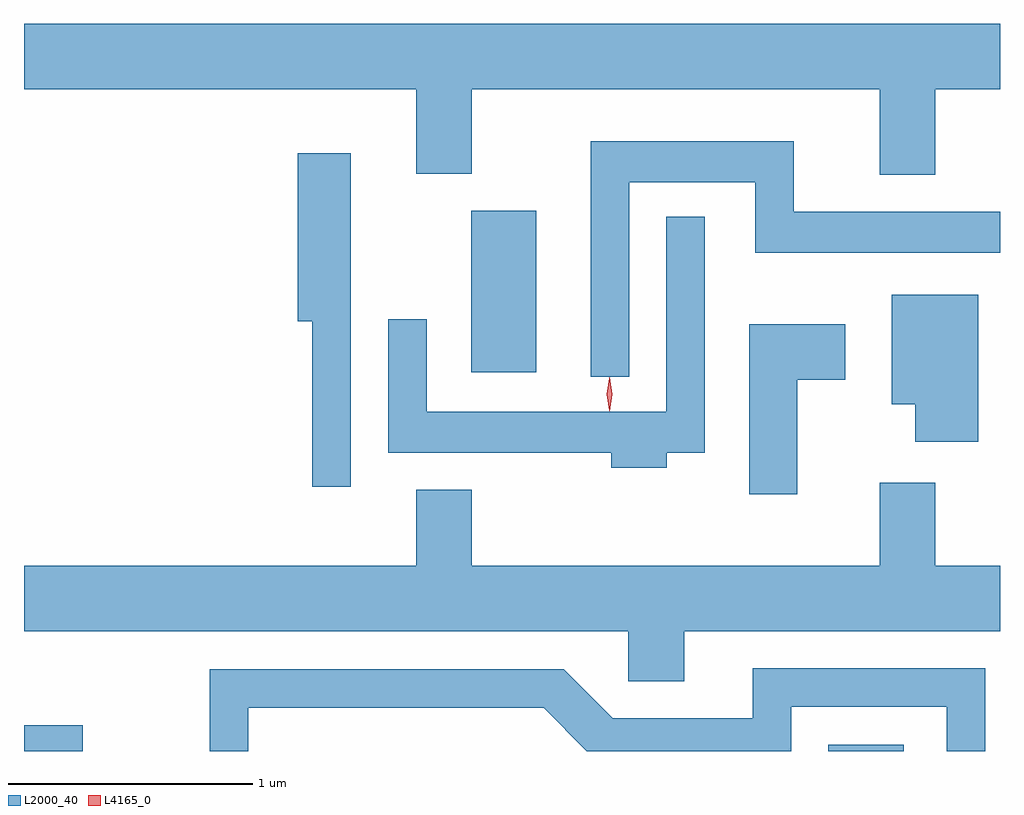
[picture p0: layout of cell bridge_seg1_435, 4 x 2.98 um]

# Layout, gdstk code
import gdstk
lib = gdstk.Library(unit=1e-6, precision=1e-09)
def R(c, l, rs):  # rectangles x0, y0, x1, y1
    for r in rs: c.add(gdstk.rectangle(r[:2], r[2:], *l))
def P(c, l, *ps):  # polygons
    for p in ps: c.add(gdstk.Polygon(p, *l))
L2000_40 = (2000, 40)
L4165_0 = (4165, 0)

bridge_seg1_435 = lib.new_cell('bridge_seg1_435')
R(bridge_seg1_435, L2000_40, [(357.734,885.764,357.974,885.869), (361.031,885.764,361.339,885.789), (359.566,887.316,359.834,887.979)])
P(bridge_seg1_435, L2000_40, [(361.469,888.476),(361.734,888.476),(361.734,888.744),(357.734,888.744),(357.734,888.476),(359.341,888.476),(359.341,888.131),(359.569,888.131),(359.569,888.476),(361.241,888.476),(361.241,888.126),(361.469,888.126)],
  [(360.214,888.096),(360.731,888.096),(360.731,887.806),(361.734,887.806),(361.734,887.974),(360.889,887.974),(360.889,888.264),(360.056,888.264),(360.056,887.298),(360.214,887.298)],
  [(359.074,888.214),(358.856,888.214),(358.856,887.526),(358.916,887.526),(358.916,886.848),(359.074,886.848)],
  [(360.369,886.986),(360.524,886.986),(360.524,887.953),(360.366,887.953),(360.366,887.154),(359.384,887.154),(359.384,887.533),(359.226,887.533),(359.226,886.986),(360.141,886.986),(360.141,886.926),(360.369,886.926)],
  [(361.644,887.634),(361.291,887.634),(361.291,887.186),(361.386,887.186),(361.386,887.031),(361.644,887.031)],
  [(360.904,887.286),(361.099,887.286),(361.099,887.514),(360.706,887.514),(360.706,886.816),(360.904,886.816)],
  [(360.439,886.256),(361.734,886.256),(361.734,886.524),(361.469,886.524),(361.469,886.864),(361.241,886.864),(361.241,886.524),(359.569,886.524),(359.569,886.834),(359.341,886.834),(359.341,886.524),(357.734,886.524),(357.734,886.256),(360.211,886.256),(360.211,886.051),(360.439,886.051)],
  [(358.654,885.941),(359.864,885.941),(360.041,885.764),(360.879,885.764),(360.879,885.946),(361.516,885.946),(361.516,885.764),(361.674,885.764),(361.674,886.104),(360.721,886.104),(360.721,885.899),(360.147,885.899),(359.947,886.099),(358.496,886.099),(358.496,885.764),(358.654,885.764)])
P(bridge_seg1_435, L4165_0, [(360.132,887.159),(360.132,887.16),(360.122,887.226),(360.132,887.292),(360.132,887.293),(360.132,887.292),(360.142,887.226),(360.132,887.16)],
  [(360.134,887.157),(360.125,887.226),(360.134,887.296),(360.135,887.296),(360.135,887.296),(360.145,887.226),(360.135,887.157),(360.135,887.157)])

lib.write_gds('bridge_seg1_435.gds')
